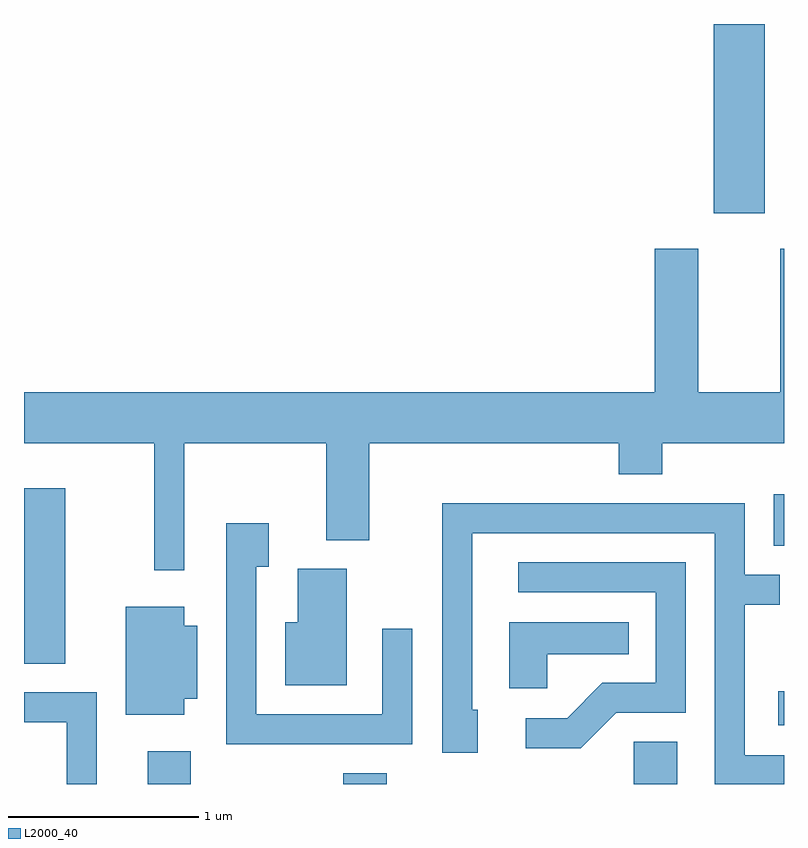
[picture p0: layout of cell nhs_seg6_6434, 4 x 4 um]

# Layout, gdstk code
import gdstk
lib = gdstk.Library(unit=1e-6, precision=1e-09)
def R(c, l, rs):  # rectangles x0, y0, x1, y1
    for r in rs: c.add(gdstk.rectangle(r[:2], r[2:], *l))
def P(c, l, *ps):  # polygons
    for p in ps: c.add(gdstk.Polygon(p, *l))
L2000_40 = (2000, 40)

nhs_seg6_6434 = lib.new_cell('nhs_seg6_6434')
R(nhs_seg6_6434, L2000_40, [(380.261,1628.162,380.489,1628.334), (381.291,1628.162,381.519,1628.219), (382.821,1628.162,383.049,1628.384), (383.581,1628.471,383.611,1628.649), (379.611,1628.796,379.829,1629.719), (383.556,1629.416,383.611,1629.688), (383.241,1631.166,383.509,1632.162)])
P(nhs_seg6_6434, L2000_40, [(380.454,1629.956),(381.201,1629.956),(381.201,1629.446),(381.429,1629.446),(381.429,1629.956),(382.741,1629.956),(382.741,1629.791),(382.969,1629.791),(382.969,1629.956),(383.611,1629.956),(383.611,1630.979),(383.591,1630.979),(383.591,1630.224),(383.159,1630.224),(383.159,1630.979),(382.931,1630.979),(382.931,1630.224),(379.611,1630.224),(379.611,1629.956),(380.296,1629.956),(380.296,1629.288),(380.454,1629.288)],
  [(383.611,1628.314),(383.404,1628.314),(383.404,1629.106),(383.588,1629.106),(383.588,1629.264),(383.404,1629.264),(383.404,1629.639),(381.811,1629.639),(381.811,1628.326),(381.999,1628.326),(381.999,1628.554),(381.969,1628.554),(381.969,1629.481),(383.246,1629.481),(383.246,1628.162),(383.611,1628.162)],
  [(381.654,1628.978),(381.496,1628.978),(381.496,1628.529),(380.834,1628.529),(380.834,1629.306),(380.899,1629.306),(380.899,1629.534),(380.676,1629.534),(380.676,1628.371),(381.654,1628.371)],
  [(382.727,1628.536),(383.094,1628.536),(383.094,1629.329),(382.213,1629.329),(382.213,1629.171),(382.936,1629.171),(382.936,1628.694),(382.654,1628.694),(382.469,1628.509),(382.253,1628.509),(382.253,1628.351),(382.542,1628.351)],
  [(381.309,1629.294),(381.051,1629.294),(381.051,1629.014),(380.986,1629.014),(380.986,1628.681),(381.309,1628.681)],
  [(380.454,1628.611),(380.524,1628.611),(380.524,1628.994),(380.454,1628.994),(380.454,1629.094),(380.146,1629.094),(380.146,1628.526),(380.454,1628.526)],
  [(382.364,1628.846),(382.793,1628.846),(382.793,1629.014),(382.166,1629.014),(382.166,1628.666),(382.364,1628.666)],
  [(379.994,1628.644),(379.611,1628.644),(379.611,1628.486),(379.836,1628.486),(379.836,1628.162),(379.994,1628.162)])

lib.write_gds('nhs_seg6_6434.gds')
